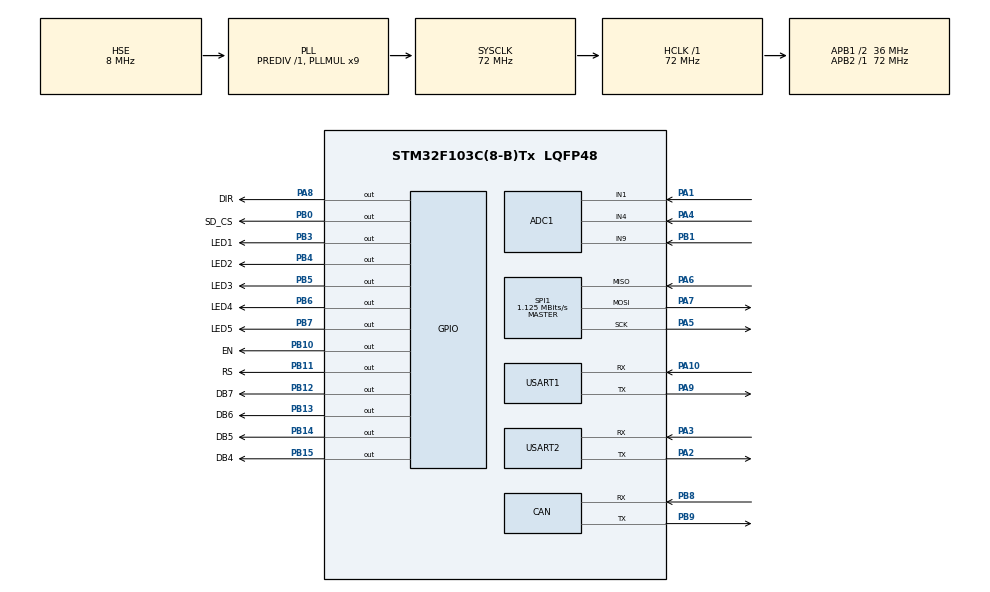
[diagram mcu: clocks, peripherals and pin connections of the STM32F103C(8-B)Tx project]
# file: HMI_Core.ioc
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ADC1.Channel-1\#ChannelRegularConversion=ADC_CHANNEL_1
ADC1.Channel-2\#ChannelRegularConversion=ADC_CHANNEL_4
ADC1.Channel-3\#ChannelRegularConversion=ADC_CHANNEL_9
ADC1.ContinuousConvMode=DISABLE
ADC1.DiscontinuousConvMode=DISABLE
ADC1.EnableInjectedConversion=DISABLE
ADC1.InjNumberOfConversion=0
ADC1.NbrOfConversion=3
ADC1.NbrOfConversionFlag=1
ADC1.Rank-1\#ChannelRegularConversion=1
ADC1.Rank-2\#ChannelRegularConversion=2
ADC1.Rank-3\#ChannelRegularConversion=3
ADC1.SamplingTime-1\#ChannelRegularConversion=ADC_SAMPLETIME_55CYCLES_5
ADC1.SamplingTime-2\#ChannelRegularConversion=ADC_SAMPLETIME_55CYCLES_5
ADC1.SamplingTime-3\#ChannelRegularConversion=ADC_SAMPLETIME_55CYCLES_5
ADC1.master=1
CAN.CalculateTimeBit=1333
CAN.CalculateTimeQuantum=444.44444444444446
Dma.ADC1.0.Direction=DMA_PERIPH_TO_MEMORY
Dma.ADC1.0.Instance=DMA1_Channel1
Dma.ADC1.0.MemDataAlignment=DMA_MDATAALIGN_WORD
Dma.ADC1.0.MemInc=DMA_MINC_ENABLE
Dma.ADC1.0.Mode=DMA_NORMAL
Dma.ADC1.0.PeriphDataAlignment=DMA_PDATAALIGN_WORD
Dma.ADC1.0.PeriphInc=DMA_PINC_DISABLE
Dma.ADC1.0.Priority=DMA_PRIORITY_LOW
Dma.Request0=ADC1
Mcu.Family=STM32F1
Mcu.Name=STM32F103C(8-B)Tx
Mcu.Package=LQFP48
NVIC.DMA1_Channel1_IRQn=true\:0\:0\:false\:false\:true\:false\:true
NVIC.PriorityGroup=NVIC_PRIORITYGROUP_4
NVIC.TIM4_IRQn=true\:0\:0\:false\:false\:true\:true\:true
PA1.Signal=ADCx_IN1
PA10.Mode=Asynchronous
PA10.Signal=USART1_RX
PA13.Mode=Serial_Wire
PA13.Signal=SYS_JTMS-SWDIO
PA14.Mode=Serial_Wire
PA14.Signal=SYS_JTCK-SWCLK
PA2.Mode=Asynchronous
PA2.Signal=USART2_TX
PA3.Mode=Asynchronous
PA3.Signal=USART2_RX
PA4.Signal=ADCx_IN4
PA5.Mode=Full_Duplex_Master
PA5.Signal=SPI1_SCK
PA6.Mode=Full_Duplex_Master
PA6.Signal=SPI1_MISO
PA7.Mode=Full_Duplex_Master
PA7.Signal=SPI1_MOSI
PA8.GPIO_Label=DIR
PA8.Signal=GPIO_Output
PA9.Mode=Asynchronous
PA9.Signal=USART1_TX
PB0.GPIO_Label=SD_CS
PB0.GPIO_Speed=GPIO_SPEED_FREQ_HIGH
PB0.PinState=GPIO_PIN_SET
PB0.Signal=GPIO_Output
PB1.Signal=ADCx_IN9
PB10.GPIO_Label=EN
PB10.Signal=GPIO_Output
PB11.GPIO_Label=RS
PB11.Signal=GPIO_Output
PB12.GPIO_Label=DB7
PB12.Signal=GPIO_Output
PB13.GPIO_Label=DB6
PB13.Signal=GPIO_Output
PB14.GPIO_Label=DB5
PB14.Signal=GPIO_Output
PB15.GPIO_Label=DB4
PB15.Signal=GPIO_Output
PB3.GPIO_Label=LED1
PB3.Signal=GPIO_Output
PB4.GPIO_Label=LED2
PB4.Signal=GPIO_Output
PB5.GPIO_Label=LED3
PB5.Signal=GPIO_Output
PB6.GPIO_Label=LED4
PB6.Signal=GPIO_Output
PB7.GPIO_Label=LED5
PB7.Signal=GPIO_Output
PB8.Mode=Master
PB8.Signal=CAN_RX
PB9.Mode=Master
PB9.Signal=CAN_TX
PD0-OSC_IN.Mode=HSE-External-Oscillator
PD0-OSC_IN.Signal=RCC_OSC_IN
PD1-OSC_OUT.Mode=HSE-External-Oscillator
PD1-OSC_OUT.Signal=RCC_OSC_OUT
ProjectManager.HeapSize=0x200
ProjectManager.StackSize=0x400
ProjectManager.TargetToolchain=STM32CubeIDE
RCC.ADCPresc=RCC_ADCPCLK2_DIV6
RCC.AHBFreq_Value=72000000
RCC.APB1CLKDivider=RCC_HCLK_DIV2
RCC.APB1Freq_Value=36000000
RCC.APB1TimFreq_Value=72000000
RCC.APB2Freq_Value=72000000
RCC.APB2TimFreq_Value=72000000
RCC.HCLKFreq_Value=72000000
RCC.PLLMUL=RCC_PLL_MUL9
RCC.PLLSourceVirtual=RCC_PLLSOURCE_HSE
RCC.SYSCLKFreq_VALUE=72000000
RCC.SYSCLKSource=RCC_SYSCLKSOURCE_PLLCLK
RCC.USBFreq_Value=48000000
RCC.USBPrescaler=RCC_USBCLKSOURCE_PLL_DIV1_5
SH.ADCx_IN1.0=ADC1_IN1,IN1
SH.ADCx_IN4.0=ADC1_IN4,IN4
SH.ADCx_IN9.0=ADC1_IN9,IN9
SPI1.BaudRatePrescaler=SPI_BAUDRATEPRESCALER_64
SPI1.CalculateBaudRate=1.125 MBits/s
SPI1.Direction=SPI_DIRECTION_2LINES
SPI1.Mode=SPI_MODE_MASTER
SPI1.VirtualType=VM_MASTER
TIM4.AutoReloadPreload=TIM_AUTORELOAD_PRELOAD_ENABLE
TIM4.Period=999
TIM4.Prescaler=71
USART1.VirtualMode=VM_ASYNC
USART2.VirtualMode=VM_ASYNC
VP_TIM4_VS_ClockSourceINT.Mode=Internal
board=custom

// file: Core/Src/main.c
/* USER CODE BEGIN Header */
/**
  ******************************************************************************
  * @file           : main.c
  * @brief          : Main program body
  ******************************************************************************
  * @attention
  *
  * <h2><center>&copy; Copyright (c) 2020 STMicroelectronics.
  * All rights reserved.</center></h2>
  *
  * This software component is licensed by ST under BSD 3-Clause license,
  * the "License"; You may not use this file except in compliance with the
  * License. You may obtain a copy of the License at:
  *                        opensource.org/licenses/BSD-3-Clause
  *
  ******************************************************************************
  */
/* USER CODE END Header */

#include "main.h"
#include "adc.h"
#include "can.h"
#include "dma.h"
#include "spi.h"
#include "tim.h"
#include "usart.h"
#include "gpio.h"

/* USER CODE BEGIN Includes */

#include <stdio.h>

// LCD
#include "LCD2x16.h"

// SD Card
#include "ff.h"
#include "diskio.h"

/* USER CODE END Includes */

/* USER CODE BEGIN PV */

// Structure and variable definitions
FATFS   FatFs;              /* File system object for each logical drive */
FIL     Fil;                /* File objects */
DIR     Dir;                /* Directory object */

FRESULT fr;

// Analog measurement

// USED Load bank https://www.tindie.com/products/enginsubasi/simple-load-bank/

double volt         = 0;        // Calculated from ADC
double curr         = 0;
double voltFilt     = 0;        // Filtered values
double currFilt     = 0;

const double filterAlpha=0.1;   // EMAF coefficient

const double rshunt = 0.05;        // Ohm
const double ri     = 1100;     // Ohm
const double rf     = 22000;     // Ohm

double gain         = 0;                // Opamp amplifier gain rate

const double adcVoltageRef  = 3300;
const uint32_t adcUpValue   = 4095;

/* USER CODE END PV */

void SystemClock_Config(void);
/* USER CODE BEGIN PFP */

#define ADC_CONVERTED_DATA_BUFFER_SIZE   ((uint32_t)  3)
static uint16_t   aADCxConvertedData[ADC_CONVERTED_DATA_BUFFER_SIZE];

/* USER CODE END PFP */

/* USER CODE BEGIN 0 */
#define TRUE 1
#define FALSE 0

/*
 * @about: Append data to file.
 */
uint8_t SD_Card_File_Write_Append ( char* path, char* txt, char* title, uint8_t retryNum )
{
    uint8_t retVal = FALSE;
    uint8_t retryNumDownCounter = retryNum;

    fr = FR_INVALID_PARAMETER;

    while ( retryNumDownCounter != 0 && fr != FR_OK )
    {
        fr = f_open ( &Fil, path, FA_READ | FA_WRITE );

        if ( fr == FR_OK )
        {
            fr = f_lseek ( &Fil, f_size ( &Fil ) );

            fr = f_write ( &Fil, txt, strlen ( txt ), NULL );

            fr = f_close ( &Fil );

            if ( fr == FR_OK )
            {
                retVal = TRUE;
            }
        }
        else if ( fr == FR_NO_FILE )
        {
            fr = f_open ( &Fil, path, FA_CREATE_ALWAYS );
            if ( fr == FR_OK )
            {
                fr = f_close ( &Fil );

                fr = f_open ( &Fil, path, FA_READ | FA_WRITE );
                fr = f_write ( &Fil, title, strlen ( title ), NULL );
                fr = f_write ( &Fil, txt, strlen ( txt ), NULL );
                fr = f_close ( &Fil );

                if ( fr == FR_OK )
                {
                    retVal = TRUE;
                }

            }
            else
            {
                f_mount ( &FatFs, "", 1 );
            }
        }
        else
        {
            f_mount ( &FatFs, "", 1 );
        }

        --retryNumDownCounter;
    }

    return ( retVal );
}

/* USER CODE END 0 */

int main(void)
{
  /* USER CODE BEGIN 1 */
  uint8_t tempTickStr[ 64 ] = "";

  uint32_t cntr1sec=0;
  /* USER CODE END 1 */

  /* MCU Configuration--------------------------------------------------------*/

  /* Reset of all peripherals, Initializes the Flash interface and the Systick. */
  HAL_Init();

  /* Configure the system clock */
  SystemClock_Config();

  /* Initialize all configured peripherals */
  MX_GPIO_Init();
  MX_CAN_Init();
  MX_SPI1_Init();
  MX_USART2_UART_Init();
  MX_USART1_UART_Init();
  MX_DMA_Init();
  MX_ADC1_Init();
  MX_TIM4_Init();
  /* USER CODE BEGIN 2 */

  // Calculate gain before calculation
  gain = 1 + ( rf / ri );

  HAL_ADCEx_Calibration_Start ( &hadc1 );

  fr=f_mount                           ( &FatFs, "", 1 );

  HAL_GPIO_WritePin(LED1_GPIO_Port, LED1_Pin, GPIO_PIN_SET);

  // Thanks to Olivier. https://github.com/4ilo/HD44780-Stm32HAL
  Lcd_PortType ports[] = {
            DB4_GPIO_Port, DB5_GPIO_Port, DB6_GPIO_Port, DB7_GPIO_Port
    };

  Lcd_PinType pins[] = {DB4_Pin, DB5_Pin, DB6_Pin, DB7_Pin};

  Lcd_HandleTypeDef lcd = Lcd_create(ports, pins, RS_GPIO_Port, RS_Pin, EN_GPIO_Port, EN_Pin, LCD_4_BIT_MODE);

  Lcd_string(&lcd, "4ilo");

  // Start measurement and filtering interrupt at 1 millisecond.
  HAL_TIM_Base_Start_IT ( &htim4 );

// bintest
  uint8_t testar[512];

  for ( int i = 0; i < 512; ++i )
  {
      testar[ i ] = i % 256;
  }

  FIL     Filx;
  fr = FR_INVALID_PARAMETER;
  fr = f_open ( &Filx, "hey.bin", FA_CREATE_ALWAYS );
  fr = f_close ( &Filx );

  fr = f_open ( &Filx, "hey.bin", FA_READ | FA_WRITE );
  fr = f_write ( &Filx, testar, 512, NULL );
  fr = f_close ( &Filx );

//bintest
  /* USER CODE END 2 */

  /* Infinite loop */
  /* USER CODE BEGIN WHILE */
  while (1)
  {
	  if ( ( HAL_GetTick ( ) - cntr1sec ) > 999 )
	  {
	        cntr1sec = HAL_GetTick ( );

	        HAL_GPIO_WritePin ( LED4_GPIO_Port, LED4_Pin, GPIO_PIN_SET );

	        Lcd_clear ( &lcd );

            sprintf ( ( char* ) tempTickStr, "%lu", cntr1sec );

            Lcd_cursor ( &lcd, 0, 0 );
            Lcd_string ( &lcd, ( char* ) tempTickStr );

            Lcd_cursor ( &lcd, 1, 0 );
            Lcd_int ( &lcd, ( uint32_t ) voltFilt );

            Lcd_cursor ( &lcd, 1, 8 );
            Lcd_int ( &lcd, ( uint32_t ) currFilt );

            sprintf ( ( char* ) tempTickStr, "%lu\t%lu\t%lu\r\n", cntr1sec, ( uint32_t ) voltFilt, ( uint32_t ) currFilt );

            if ( HAL_GetTick ( ) > 20000 )
            {
                if ( SD_Card_File_Write_Append ( "test1.txt", ( char* ) tempTickStr, "", 3 ) == FALSE )
                {
                    HAL_GPIO_WritePin ( LED3_GPIO_Port, LED3_Pin, GPIO_PIN_SET );
                    HAL_GPIO_TogglePin ( LED2_GPIO_Port, LED2_Pin );
                }
            }

            HAL_GPIO_WritePin ( LED4_GPIO_Port, LED4_Pin, GPIO_PIN_RESET );
	  }

    /* USER CODE END WHILE */

  }
}

void SystemClock_Config(void)
{
  RCC_OscInitTypeDef RCC_OscInitStruct = {0};
  RCC_ClkInitTypeDef RCC_ClkInitStruct = {0};
  RCC_PeriphCLKInitTypeDef PeriphClkInit = {0};

  /** Initializes the CPU, AHB and APB busses clocks
  */
  RCC_OscInitStruct.OscillatorType = RCC_OSCILLATORTYPE_HSE;
  RCC_OscInitStruct.HSEState = RCC_HSE_ON;
  RCC_OscInitStruct.HSEPredivValue = RCC_HSE_PREDIV_DIV1;
  RCC_OscInitStruct.HSIState = RCC_HSI_ON;
  RCC_OscInitStruct.PLL.PLLState = RCC_PLL_ON;
  RCC_OscInitStruct.PLL.PLLSource = RCC_PLLSOURCE_HSE;
  RCC_OscInitStruct.PLL.PLLMUL = RCC_PLL_MUL9;
  if (HAL_RCC_OscConfig(&RCC_OscInitStruct) != HAL_OK)
  {
    Error_Handler();
  }
  /** Initializes the CPU, AHB and APB busses clocks
  */
  RCC_ClkInitStruct.ClockType = RCC_CLOCKTYPE_HCLK|RCC_CLOCKTYPE_SYSCLK
                              |RCC_CLOCKTYPE_PCLK1|RCC_CLOCKTYPE_PCLK2;
  RCC_ClkInitStruct.SYSCLKSource = RCC_SYSCLKSOURCE_PLLCLK;
  RCC_ClkInitStruct.AHBCLKDivider = RCC_SYSCLK_DIV1;
  RCC_ClkInitStruct.APB1CLKDivider = RCC_HCLK_DIV2;
  RCC_ClkInitStruct.APB2CLKDivider = RCC_HCLK_DIV1;

  if (HAL_RCC_ClockConfig(&RCC_ClkInitStruct, FLASH_LATENCY_2) != HAL_OK)
  {
    Error_Handler();
  }
  PeriphClkInit.PeriphClockSelection = RCC_PERIPHCLK_ADC;
  PeriphClkInit.AdcClockSelection = RCC_ADCPCLK2_DIV6;
  if (HAL_RCCEx_PeriphCLKConfig(&PeriphClkInit) != HAL_OK)
  {
    Error_Handler();
  }
}

/* USER CODE BEGIN 4 */

void Delay_NOP ( uint16_t DelayCount )
{
    uint16_t nopcounter;

    for (nopcounter = 0; nopcounter < DelayCount; nopcounter++)
    {
        __NOP();
    }
}

double adcToCurrentMilliamp ( uint32_t adcValue )
{
    // This calculation was not simplified for easy understanding.
    double current = 0;

    current = adcValue; /* to cast operation in double domain */

    current = ( ( current * adcVoltageRef ) / adcUpValue );

    current /= gain;

    current /= rshunt;

    return ( current );
}

void HAL_TIM_PeriodElapsedCallback ( TIM_HandleTypeDef *htim )
{
    /* 1 millisecond timer */
    if ( htim->Instance == TIM4 )
    {
        HAL_GPIO_WritePin(LED5_GPIO_Port, LED5_Pin, GPIO_PIN_SET);

        volt = aADCxConvertedData[0];
        curr = adcToCurrentMilliamp(aADCxConvertedData[2]);

        volt = ( volt * adcVoltageRef ) / adcUpValue;

        voltFilt = ( volt * filterAlpha ) + ( ( 1 - filterAlpha ) * voltFilt );
        currFilt = ( curr * filterAlpha ) + ( ( 1 - filterAlpha ) * currFilt );

        HAL_ADC_Start_DMA ( &hadc1, ( uint32_t * ) aADCxConvertedData, ADC_CONVERTED_DATA_BUFFER_SIZE );

        HAL_GPIO_WritePin(LED5_GPIO_Port, LED5_Pin, GPIO_PIN_RESET);
    }
}
/* USER CODE END 4 */

void Error_Handler(void)
{
}

/************************ (C) COPYRIGHT STMicroelectronics *****END OF FILE****/
